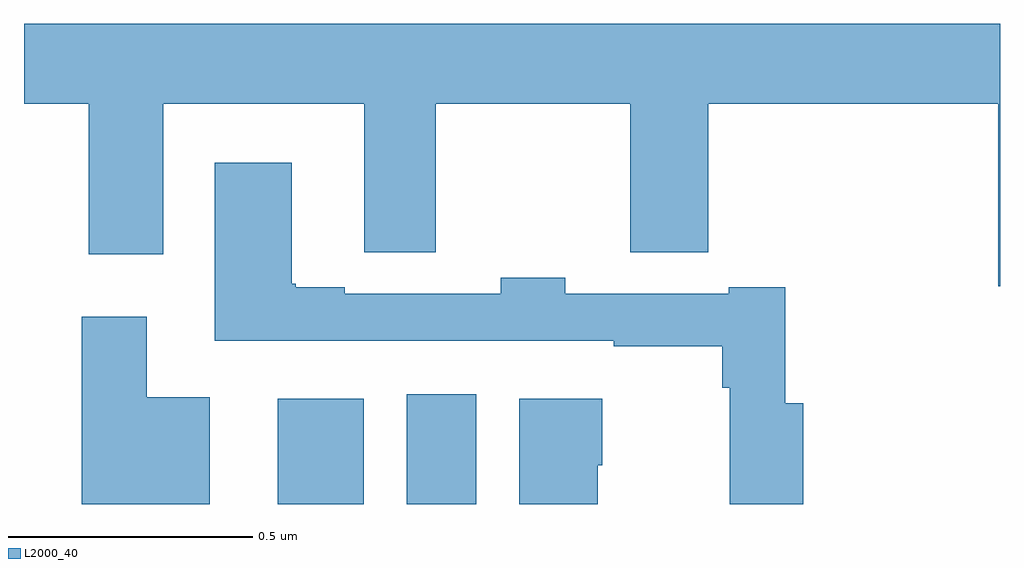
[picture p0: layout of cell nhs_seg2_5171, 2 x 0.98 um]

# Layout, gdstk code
import gdstk
lib = gdstk.Library(unit=1e-6, precision=1e-09)
def R(c, l, rs):  # rectangles x0, y0, x1, y1
    for r in rs: c.add(gdstk.rectangle(r[:2], r[2:], *l))
def P(c, l, *ps):  # polygons
    for p in ps: c.add(gdstk.Polygon(p, *l))
L2000_40 = (2000, 40)

nhs_seg2_5171 = lib.new_cell('nhs_seg2_5171')
R(nhs_seg2_5171, L2000_40, [(175.52,662.8,175.696,663.016), (175.784,662.8,175.927,663.025)])
P(nhs_seg2_5171, L2000_40, [(177,663.784),(175,663.784),(175,663.62),(175.133,663.62),(175.133,663.312),(175.285,663.312),(175.285,663.62),(175.697,663.62),(175.697,663.316),(175.844,663.316),(175.844,663.62),(176.242,663.62),(176.242,663.316),(176.402,663.316),(176.402,663.62),(176.996,663.62),(176.996,663.246),(177,663.246)],
  [(176.597,663.007),(176.56,663.007),(176.56,663.244),(176.444,663.244),(176.444,663.231),(176.109,663.231),(176.109,663.264),(175.977,663.264),(175.977,663.231),(175.657,663.231),(175.657,663.244),(175.557,663.244),(175.557,663.252),(175.549,663.252),(175.549,663.499),(175.391,663.499),(175.391,663.135),(176.209,663.135),(176.209,663.123),(176.431,663.123),(176.431,663.038),(176.446,663.038),(176.446,662.8),(176.597,662.8)],
  [(175.381,663.019),(175.252,663.019),(175.252,663.184),(175.118,663.184),(175.118,662.8),(175.381,662.8)],
  [(176.176,662.88),(176.185,662.88),(176.185,663.016),(176.015,663.016),(176.015,662.8),(176.176,662.8)])

lib.write_gds('nhs_seg2_5171.gds')
